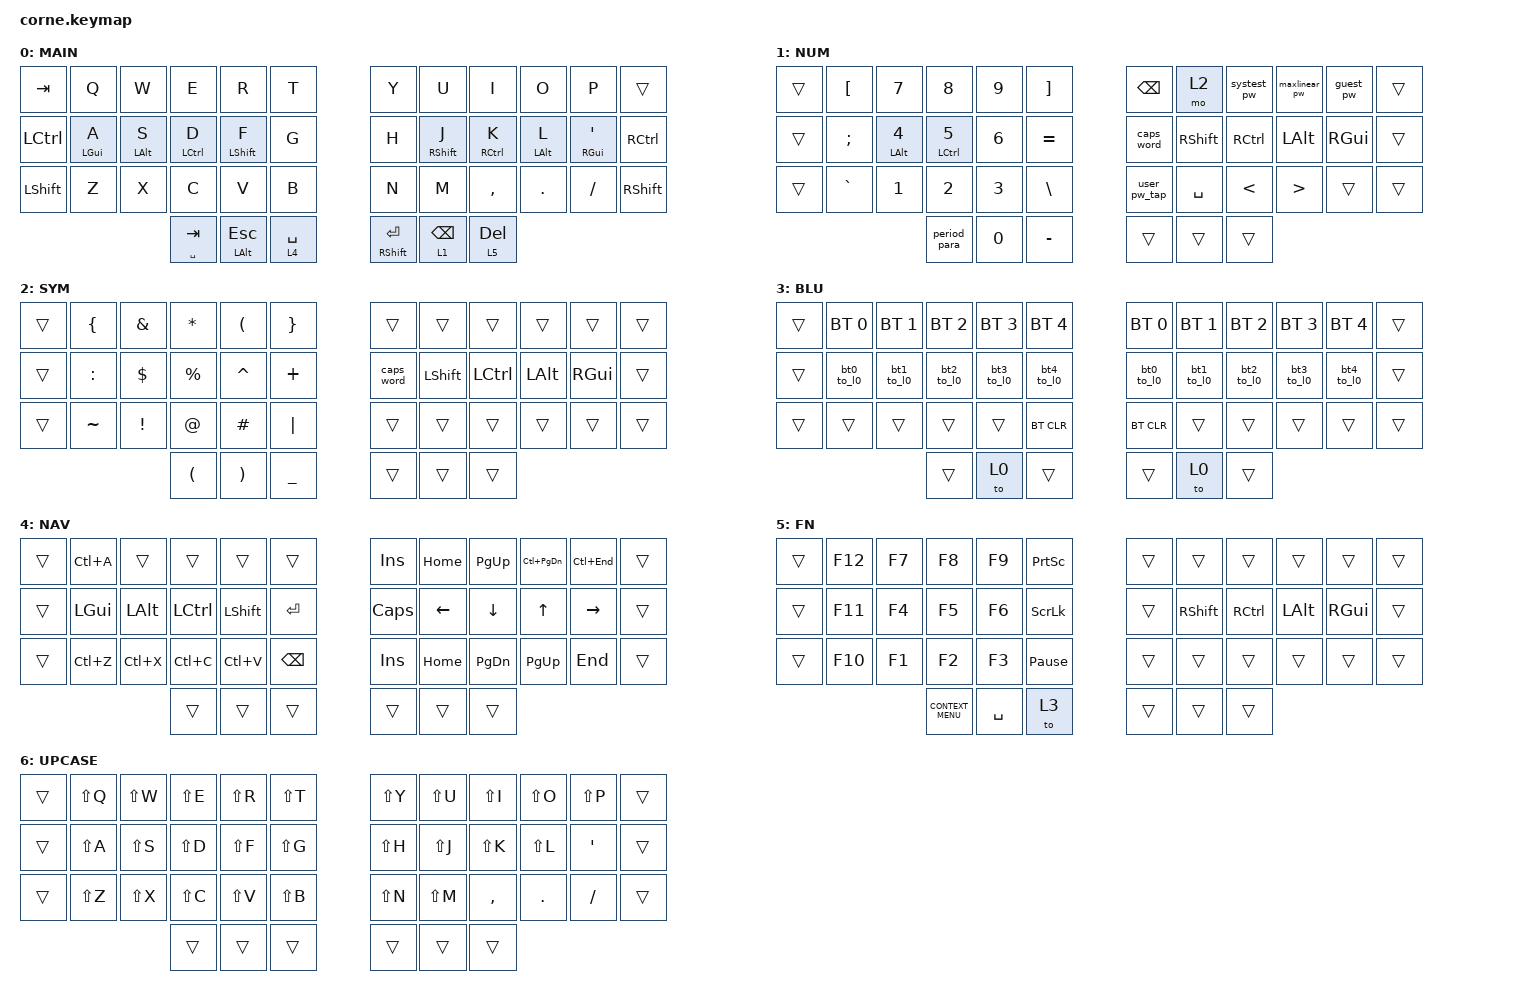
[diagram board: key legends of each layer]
#include <behaviors.dtsi>
#include <dt-bindings/zmk/bt.h>
#include <dt-bindings/zmk/keys.h>

#define NUM_LAYER (1)
#define SYM_LAYER (2)
#define BLU_LAYER (3)
#define NAV_LAYER (4)
#define FN_LAYER (5)
#define UNUSED_LAYER (6)

//#define AS(keycode) &as LS(keycode) keycode     // Autoshift Macro (For now will keep off as "caps_word" seems to do this function better.

#define AS(keycode) &kp keycode  //defaulting all alpha keys to standard keypress

/// {
//    chosen {
//        zmk,matrix_transform = &default_transform;
//
//        //zmk,matrix_transform = &five_column_transform;
//    };
//};

/ {
    behaviors {
        as: auto_shift {
            compatible = "zmk,behavior-hold-tap";
            label = "AUTO_SHIFT";
            #binding-cells = <2>;
            tapping_term_ms = <135>;
            quick_tap_ms = <0>;
            flavor = "tap-preferred";
            bindings = <&kp>, <&kp>;
        };

        fc: force_caps {
            compatible = "zmk,behavior-tap-dance";
            label = "FORCE_CAPS";
            #binding-cells = <0>;
            tapping-term-ms = <200>;
            bindings = <&kp LSHFT>, <&caps_word>;
        };

        home_row_thumb: home_row_thumb {
            compatible = "zmk,behavior-hold-tap";
            label = "HOME_ROW_THUMB";
            bindings = <&kp>, <&kp>;

            #binding-cells = <2>;
            quick-tap-ms = <175>;
            tapping-term-ms = <280>;
            require-prior-idle-ms = <150>;
            flavor = "balanced";
            hold-trigger-key-positions = <1 13 25 26 14 2 3 15 27 28 16 4 5 17 29 36 38 24 12 0 30 31 32 33 34 35 7 8 9 10 19 20 21 22 6 7 8 9 10 11 18 19 20 21 22 23 31 32 33 39 40 41 37>;
            hold-trigger-on-release;
        };

        home_row_left: home_row_left {
            compatible = "zmk,behavior-hold-tap";
            label = "HOME_ROW_LEFT";
            bindings = <&kp>, <&kp>;

            #binding-cells = <2>;
            tapping-term-ms = <200>;
            require-prior-idle-ms = <50>;
            flavor = "balanced";
            hold-trigger-key-positions = <6 18 30 39 40 41 32 31 7 20 19 21 9 8 33 34 22 10 11 23 35 38 37 36>;
            hold-trigger-on-release;
        };

        sticky_key: sticky_key {
            compatible = "zmk,behavior-sticky-key";
            label = "STICKY_KEY";
            bindings = <&kp>;
            #binding-cells = <1>;
            release-after-ms = <900>;
            quick-release;
        };

        left_par_less_than: left_par_less_than {
            compatible = "zmk,behavior-mod-morph";
            label = "LEFT_PAR_LESS_THAN";
            bindings = <&kp LEFT_PARENTHESIS>, <&kp LESS_THAN>;

            #binding-cells = <0>;
            mods = <(MOD_LSFT)>;
        };

        right_par_greater_than: right_par_greater_than {
            compatible = "zmk,behavior-mod-morph";
            label = "RIGHT_PAR_GREATER_THAN";
            bindings = <&kp RIGHT_PARENTHESIS>, <&kp GREATER_THAN>;

            #binding-cells = <0>;
            mods = <(MOD_LSFT)>;
        };

        left_bracket_brace: left_bracket_brace {
            compatible = "zmk,behavior-mod-morph";
            label = "LEFT_BRACKET_BRACE";
            bindings = <&kp LEFT_BRACKET>, <&kp LEFT_BRACE>;

            #binding-cells = <0>;
            mods = <(MOD_LSFT)>;
        };

        right_bracket_brace: right_bracket_brace {
            compatible = "zmk,behavior-mod-morph";
            label = "RIGHT_BRACKET_BRACE";
            bindings = <&kp RIGHT_BRACKET>, <&kp RIGHT_BRACE>;

            #binding-cells = <0>;
            mods = <(MOD_LSFT)>;
        };

        smart_shift: smart_shift {
            compatible = "zmk,behavior-mod-morph";
            label = "SMART_SHIFT";
            bindings = <&sticky_key LSHFT>, <&caps_word>;

            #binding-cells = <0>;
            mods = <(MOD_LSFT)>;
        };

        num_word: num_word {
            compatible = "zmk,behavior-caps-word";
            label = "NUM_WORD";
            #binding-cells = <0>;
            continue-list = <BACKSPACE DEL DOT COMMA PLUS MINUS STAR SLASH EQUAL>;
        };

        num_dance: num_dance {
            compatible = "zmk,behavior-tap-dance";
            label = "NUM_DANCE";
            #binding-cells = <0>;
            bindings = <&num_word>, <&sl 1>;

            tapping-term-ms = <200>;
        };

        smart_num: smart_num {
            compatible = "zmk,behavior-hold-tap";
            label = "SMART_NUM";
            bindings = <&mo>, <&num_dance>;

            #binding-cells = <2>;
            flavor = "balanced";
            tapping-term-ms = <200>;
            quick-tap-ms = <175>;
        };

        home_row_right: home_row_right {
            compatible = "zmk,behavior-hold-tap";
            label = "HOME_ROW_RIGHT";
            bindings = <&kp>, <&kp>;

            #binding-cells = <2>;
            tapping-term-ms = <200>;
            require-prior-idle-ms = <50>;
            flavor = "balanced";
            hold-trigger-on-release;
            hold-trigger-key-positions = <0 1 2 3 4 5 12 13 14 15 16 17 24 25 26 27 28 29 38 37 36 40 39 41>;
        };

        sticky_hold: sticky_hold {
            compatible = "zmk,behavior-hold-tap";
            label = "STICKY_HOLD";
            bindings = <&kp>, <&sticky_key>;

            #binding-cells = <2>;
            tapping-term-ms = <200>;
        };

        home_row_left_shift: home_row_left_shift {
            compatible = "zmk,behavior-hold-tap";
            label = "HOME_ROW_LEFT_SHIFT";
            bindings = <&kp>, <&kp>;

            #binding-cells = <2>;
            tapping-term-ms = <160>;
            require-prior-idle-ms = <20>;
            flavor = "balanced";
            hold-trigger-key-positions = <6 18 30 39 40 41 32 31 7 20 19 21 9 8 33 34 22 10 11 23 35 38 37 36>;
            hold-trigger-on-release;
        };

        home_row_right_shift: home_row_right_shift {
            compatible = "zmk,behavior-hold-tap";
            label = "HOME_ROW_RIGHT_SHIFT";
            bindings = <&kp>, <&kp>;

            #binding-cells = <2>;
            tapping-term-ms = <160>;
            require-prior-idle-ms = <20>;
            flavor = "balanced";
            hold-trigger-on-release;
            hold-trigger-key-positions = <0 1 2 3 4 5 12 13 14 15 16 17 24 25 26 27 28 29 38 37 36 40 39 41>;
        };

        home_row_left_gui: home_row_left_gui {
            compatible = "zmk,behavior-hold-tap";
            label = "HOME_ROW_LEFT_GUI";
            bindings = <&kp>, <&kp>;

            #binding-cells = <2>;
            tapping-term-ms = <250>;
            require-prior-idle-ms = <100>;
            flavor = "balanced";
            hold-trigger-key-positions = <6 18 30 39 40 41 32 31 7 20 19 21 9 8 33 34 22 10 11 23 35 38 37 36>;
            hold-trigger-on-release;
        };

        home_row_right_gui: home_row_right_gui {
            compatible = "zmk,behavior-hold-tap";
            label = "HOME_ROW_RIGHT_GUI";
            bindings = <&kp>, <&kp>;

            #binding-cells = <2>;
            tapping-term-ms = <250>;
            require-prior-idle-ms = <100>;
            flavor = "balanced";
            hold-trigger-on-release;
            hold-trigger-key-positions = <0 1 2 3 4 5 12 13 14 15 16 17 24 25 26 27 28 29 38 37 36 40 39 41>;
        };

        layer_tap_left: layer_tap_left {
            compatible = "zmk,behavior-hold-tap";
            label = "LAYER_TAP_LEFT";
            bindings = <&mo>, <&kp>;

            #binding-cells = <2>;
            tapping-term-ms = <120>;
            hold-trigger-key-positions = <0 1 2 3 4 5 6 7 8 9 10 11 12 13 14 15 16 17 18 19 20 21 22 23 24 25 26 27 28 29 30 31 32 33 34 35 39 40 41>;
            flavor = "balanced";
        };

        layer_tap_right: layer_tap_right {
            compatible = "zmk,behavior-hold-tap";
            label = "LAYER_TAP_RIGHT";
            bindings = <&mo>, <&kp>;

            #binding-cells = <2>;
            tapping-term-ms = <120>;
            hold-trigger-key-positions = <0 1 2 3 4 5 6 7 8 9 10 11 12 13 14 15 16 17 18 19 20 21 22 23 24 25 26 27 28 29 30 31 32 33 34 35 38 37 36>;
            flavor = "balanced";
        };

        period_para: period_para {
            compatible = "zmk,behavior-mod-morph";
            label = "PERIOD_PARA";
            bindings = <&kp PERIOD>, <&kp LEFT_PARENTHESIS>;

            #binding-cells = <0>;
            mods = <(MOD_RSFT)>;
        };

        shift_tap: shift_tap {
            compatible = "zmk,behavior-tap-dance";
            label = "SHIFT_TAP";
            #binding-cells = <0>;
            bindings = <&kp RIGHT_SHIFT>, <&caps_word>;

            tapping-term-ms = <100>;
        };

        capsword_tap: capsword_tap {
            compatible = "zmk,behavior-hold-tap";
            label = "CAPSWORD_TAP";
            bindings = <&caps_word>, <&kp>;

            #binding-cells = <2>;
            tapping-term-ms = <100>;
            flavor = "hold-preferred";
        };

        dash_space: dash_space {
            compatible = "zmk,behavior-mod-morph";
            label = "DASH_SPACE";
            bindings = <&kp MINUS>, <&kp SPACE>;

            #binding-cells = <0>;
            mods = <(MOD_LSFT|MOD_RSFT)>;
        };

        user_pw_tap: user_pw_tap {
            compatible = "zmk,behavior-tap-dance";
            label = "USER_PW_TAP";
            #binding-cells = <0>;
            bindings = <&user_pw1>, <&user_pw2>;
        };

        lt { tapping-term-ms = <200>; };
    };

    macros {
        bt0_to_l0: bt0_to_l0 {
            compatible = "zmk,behavior-macro";
            #binding-cells = <0>;
            bindings = <&bt BT_SEL 0 &to 0>;
            label = "BT0_TO_L0";
        };

        bt1_to_l0: bt1_to_l0 {
            compatible = "zmk,behavior-macro";
            #binding-cells = <0>;
            bindings = <&bt BT_SEL 1 &to 0>;
            label = "BT1_TO_L0";
        };

        bt2_to_l0: bt2_to_l0 {
            compatible = "zmk,behavior-macro";
            #binding-cells = <0>;
            bindings = <&bt BT_SEL 2 &to 0>;
            label = "BT2_TO_L0";
        };

        bt3_to_l0: bt3_to_l0 {
            compatible = "zmk,behavior-macro";
            #binding-cells = <0>;
            bindings = <&bt BT_SEL 3 &to 0>;
            label = "BT3_TO_L0";
        };

        bt4_to_l0: bt4_to_l0 {
            compatible = "zmk,behavior-macro";
            #binding-cells = <0>;
            bindings = <&bt BT_SEL 4 &to 0>;
            label = "BT4_TO_L0";
        };

        systest_pw: pw_systest {
            compatible = "zmk,behavior-macro";
            #binding-cells = <0>;
            bindings = <&kp C &kp O &kp M &kp P &kp U &kp T &kp E &kp R &kp AT &kp N1>;
            label = "PW_SYSTEST";
            tap-ms = <0>;
        };

        maxlinear_pw: maxlinear_pw {
            compatible = "zmk,behavior-macro";
            #binding-cells = <0>;
            bindings = <&kp N8 &kp N8 &kp N8 &kp N8 &kp N8 &kp N8 &kp N8 &kp N8>;
            label = "MAXLINEAR_PW";
            tap-ms = <0>;
        };

        guest_pw: guest_pw {
            compatible = "zmk,behavior-macro";
            #binding-cells = <0>;
            bindings = <&kp N1 &kp N1 &kp N1 &kp N1 &kp N1 &kp N1 &kp N1 &kp N1>;
            label = "GUEST_PW";
            tap-ms = <0>;
        };

        user_pw2: user_pw {
            compatible = "zmk,behavior-macro";
            #binding-cells = <0>;
            bindings = <&kp LS(G) &kp LS(I) &kp LS(V) &kp LS(E) &kp N4 &kp S &kp U &kp P &kp E &kp R &kp N &kp A &kp L &kp EXCL>;
            label = "USER_PW";
        };

        user_pw1: user_pw1 {
            compatible = "zmk,behavior-macro";
            #binding-cells = <0>;
            bindings = <&kp LS(S) &kp LS(H) &kp LS(O) &kp LS(P) &kp LS(T) &kp LS(A) &kp LS(L) &kp LS(K) &kp EXCLAMATION &kp V &kp I &kp A &kp N &kp D &kp NUMBER_2>;
            label = "USER_PW1";
        };
    };

    combos {
        compatible = "zmk,combos";

        combo_bt_clear {
            bindings = <&bt BT_CLR>;
            key-positions = <30 29>;
            timeout-ms = <100>;
            layers = <3>;
        };

        combo_caps {
            bindings = <&caps_word>;
            key-positions = <18 40>;
            layers = <0>;
            timeout-ms = <75>;
        };
    };

    keymap {
        compatible = "zmk,keymap";

        default_layer {
            label = "MAIN";
            bindings = <
&kp TAB           &kp Q                          &kp W                      &kp E                   &kp R                              &kp T          &kp Y                  &kp U                                &kp I                    &kp O                       &kp P                                     &trans
&kp LEFT_CONTROL  &home_row_left_gui LEFT_GUI A  &home_row_left LEFT_ALT S  &home_row_left LCTRL D  &home_row_left_shift LEFT_SHIFT F  &kp G          &kp H                  &home_row_right_shift RIGHT_SHIFT J  &home_row_right RCTRL K  &home_row_right LEFT_ALT L  &home_row_right_gui RIGHT_GUI APOSTROPHE  &kp RIGHT_CONTROL
&kp LEFT_SHIFT    &kp Z                          &kp X                      &kp C                   &kp V                              &kp B          &kp N                  &kp M                                &kp COMMA                &kp DOT                     &kp FSLH                                  &kp RIGHT_SHIFT
                                                                            &mt SPACE TAB           &mt LEFT_ALT ESCAPE                &lt 4 SPACE    &mt RIGHT_SHIFT ENTER  &layer_tap_right 1 BACKSPACE         &lt 5 DELETE
            >;
        };

        NUM {
            label = "NUM";
            bindings = <
&trans  &kp LEFT_BRACKET  &kp N7                            &kp N8                   &kp N9        &kp RIGHT_BRACKET    &kp BACKSPACE  &mo 2            &systest_pw    &maxlinear_pw     &guest_pw      &trans
&trans  &kp SEMI          &home_row_left LEFT_ALT NUMBER_4  &home_row_left LCTRL N5  &kp N6        &kp EQUAL            &caps_word     &kp RIGHT_SHIFT  &kp RCTRL      &kp LALT          &kp RIGHT_GUI  &trans
&trans  &kp GRAVE         &kp N1                            &kp N2                   &kp N3        &kp BACKSLASH        &user_pw_tap   &kp SPACE        &kp LESS_THAN  &kp GREATER_THAN  &trans         &trans
                                                            &period_para             &kp NUMBER_0  &kp MINUS            &trans         &trans           &trans
            >;
        };

        SYM {
            label = "SYM";
            bindings = <
&trans  &kp LEFT_BRACE  &kp AMPERSAND  &kp STAR              &kp LEFT_PARENTHESIS   &kp RIGHT_BRACE    &trans      &trans     &trans     &trans    &trans         &trans
&trans  &kp COLON       &kp DOLLAR     &kp PERCENT           &kp CARET              &kp PLUS           &caps_word  &kp LSHFT  &kp LCTRL  &kp LALT  &kp RIGHT_GUI  &trans
&trans  &kp TILDE       &kp EXCL       &kp AT                &kp POUND              &kp PIPE           &trans      &trans     &trans     &trans    &trans         &trans
                                       &kp LEFT_PARENTHESIS  &kp RIGHT_PARENTHESIS  &kp UNDER          &trans      &trans     &trans
            >;
        };

        BLU {
            label = "BLU";
            bindings = <
&trans  &bt BT_SEL 0  &bt BT_SEL 1  &bt BT_SEL 2  &bt BT_SEL 3  &bt BT_SEL 4    &bt BT_SEL 0  &bt BT_SEL 1  &bt BT_SEL 2  &bt BT_SEL 3  &bt BT_SEL 4  &trans
&trans  &bt0_to_l0    &bt1_to_l0    &bt2_to_l0    &bt3_to_l0    &bt4_to_l0      &bt0_to_l0    &bt1_to_l0    &bt2_to_l0    &bt3_to_l0    &bt4_to_l0    &trans
&trans  &trans        &trans        &trans        &trans        &bt BT_CLR      &bt BT_CLR    &trans        &trans        &trans        &trans        &trans
                                    &trans        &to 0         &trans          &trans        &to 0         &trans
            >;
        };

        NAV {
            label = "NAV";
            bindings = <
&trans  &kp LC(A)     &trans     &trans     &trans     &trans           &kp INS       &kp HOME  &kp PAGE_UP    &kp LC(PAGE_DOWN)  &kp LC(END)  &trans
&trans  &kp LEFT_GUI  &kp LALT   &kp LCTRL  &kp LSHFT  &kp ENTER        &kp CAPSLOCK  &kp LEFT  &kp DOWN       &kp UP_ARROW       &kp RIGHT    &trans
&trans  &kp LC(Z)     &kp LC(X)  &kp LC(C)  &kp LC(V)  &kp BACKSPACE    &kp INS       &kp HOME  &kp PAGE_DOWN  &kp PAGE_UP        &kp END      &trans
                                 &trans     &trans     &trans           &trans        &trans    &trans
            >;
        };

        FN {
            label = "FN";
            bindings = <
&trans  &kp F12  &kp F7  &kp F8              &kp F9     &kp PRINTSCREEN    &trans  &trans     &trans     &trans    &trans         &trans
&trans  &kp F11  &kp F4  &kp F5              &kp F6     &kp SCROLLLOCK     &trans  &kp RSHFT  &kp RCTRL  &kp LALT  &kp RIGHT_GUI  &trans
&trans  &kp F10  &kp F1  &kp F2              &kp F3     &kp PAUSE_BREAK    &trans  &trans     &trans     &trans    &trans         &trans
                         &kp K_CONTEXT_MENU  &kp SPACE  &to 3              &trans  &trans     &trans
            >;
        };

        UPCASE {
            bindings = <
&trans  &kp LS(Q)  &kp LS(W)  &kp LS(E)  &kp LS(R)  &kp LS(T)    &kp LS(Y)  &kp LS(U)  &kp LS(I)  &kp LS(O)  &kp LS(P)       &trans
&trans  &kp LS(A)  &kp LS(S)  &kp LS(D)  &kp LS(F)  &kp LS(G)    &kp LS(H)  &kp LS(J)  &kp LS(K)  &kp LS(L)  &kp APOSTROPHE  &trans
&trans  &kp LS(Z)  &kp LS(X)  &kp LS(C)  &kp LS(V)  &kp LS(B)    &kp LS(N)  &kp LS(M)  &kp COMMA  &kp DOT    &kp FSLH        &trans
                              &trans     &trans     &trans       &trans     &trans     &trans
            >;
        };
    };
};
